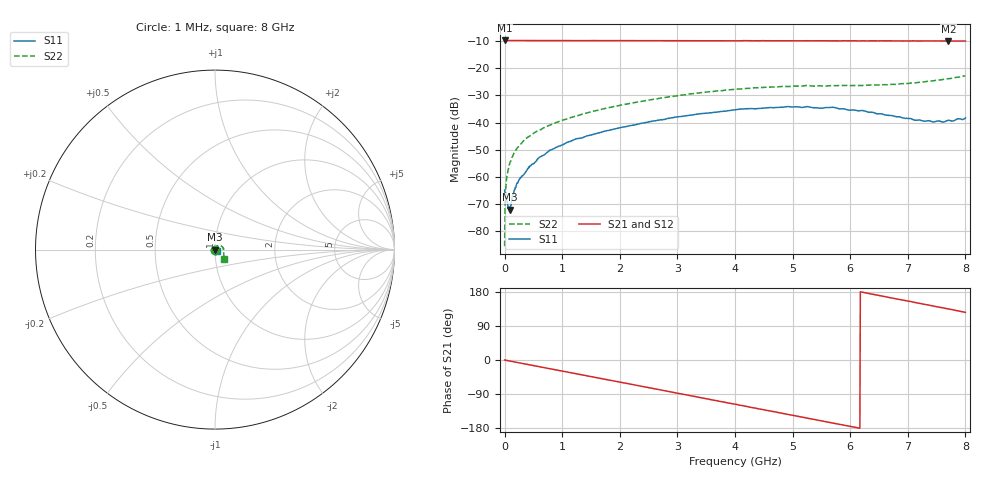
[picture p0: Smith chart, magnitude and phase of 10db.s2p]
# Hz S DB R 50
! CMT, CMT804U, 21380002, 24.2.2/4
! Date: 25/11/2025 13:44:52
! Data: Format (Calibration Info)
! Freq	S11:dB/Ang(F2)	S21:dB/Ang(F2)	S12:dB/Ang(F2)	S22:dB/Ang(F2)
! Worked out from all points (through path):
!   1001 points, 1 MHz to 8 GHz, reference 50 ohm
!   highest |S21| = -9.72 dB at 1 MHz (marker M1); lowest = -9.9 dB at 7.704 GHz (marker M2)
!   group delay of S21, straight-line fit = 81.2 ps
!   lowest |S11| = -72.1 dB at 88.99 MHz (marker M3), VSWR 1.00, Z = 50 - j0.0115 ohm
!   |S11| at or under -10 dB: start of sweep to end of sweep
!   |S22| runs from -85.6 to -22.7 dB; largest |S21 - S12| = 0.0043
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1000000  -64.84 -175.9  -9.72 -0.0  -9.72 -0.1  -85.56 -34.8
4.8994e7  -69.70 170.7  -9.73 -1.5  -9.73 -1.5  -58.84 66.5
6.4992e7  -71.42 177.6  -9.73 -2.0  -9.73 -2.0  -57.18 66.9
8.8989e7  -72.09 -152.4  -9.73 -2.7  -9.73 -2.7  -55.18 66.7
1.20985e8  -68.94 -118.7  -9.74 -3.6  -9.73 -3.7  -53.44 64.4
1.6098e8  -65.51 -102.5  -9.74 -4.8  -9.73 -4.8  -51.36 65.5
2.4097e8  -61.60 -91.8  -9.74 -7.1  -9.74 -7.2  -48.91 68.5
3.52956e8  -58.56 -84.3  -9.75 -10.4  -9.75 -10.4  -46.21 69.0
4.56943e8  -55.94 -83.1  -9.76 -13.4  -9.75 -13.5  -44.65 69.2
6.00925e8  -52.92 -83.6  -9.76 -17.6  -9.76 -17.7  -42.85 70.1
8.009e8  -50.06 -83.1  -9.77 -23.5  -9.76 -23.5  -40.80 70.7
1.336833e9  -45.69 -79.6  -9.77 -39.0  -9.77 -39.1  -36.94 70.0
1.752781e9  -43.09 -78.1  -9.78 -51.1  -9.77 -51.2  -34.76 67.6
2.672666e9  -39.13 -73.9  -9.79 -78.0  -9.79 -78.0  -31.13 53.9
4.0005e9  -35.30 -73.2  -9.83 -116.5  -9.81 -116.5  -27.72 28.3
4.904387e9  -34.12 -77.0  -9.81 -143.2  -9.80 -143.1  -26.70 12.5
5.336333e9  -34.43 -77.7  -9.85 -155.7  -9.81 -155.7  -26.52 6.8
5.712286e9  -34.37 -79.8  -9.87 -166.6  -9.82 -166.6  -26.40 -0.8
6.672166e9  -37.39 -77.0  -9.89 165.0  -9.84 165.1  -25.98 -17.2
7.288089e9  -39.47 -59.0  -9.89 147.1  -9.84 147.1  -24.99 -30.0
7.704037e9  -39.12 -38.2  -9.93 134.7  -9.86 134.5  -23.81 -38.1
8e9  -38.31 -27.7  -9.92 125.8  -9.83 125.7  -22.73 -44.4
